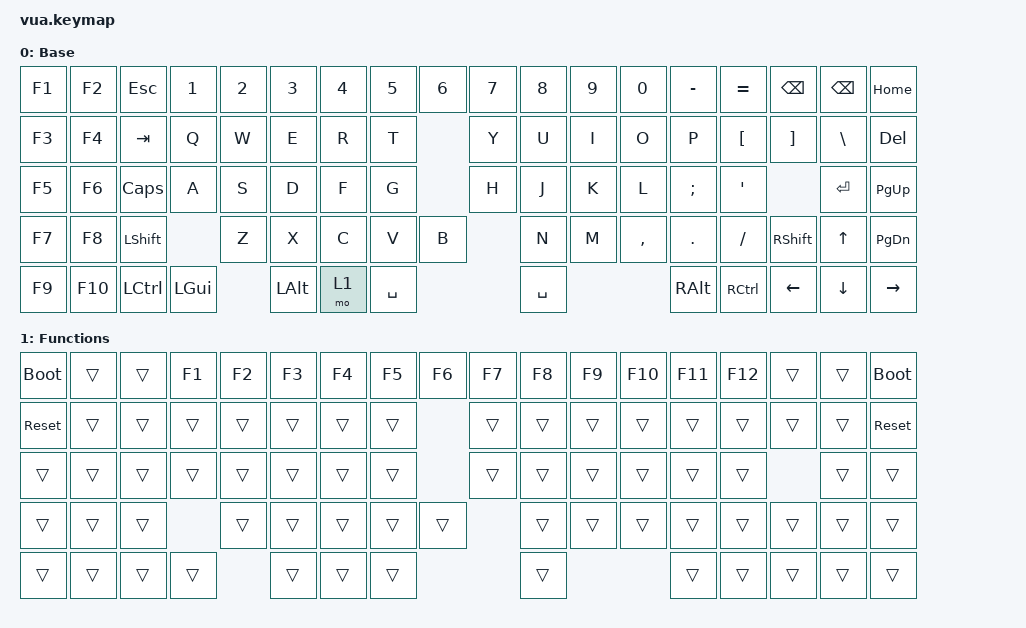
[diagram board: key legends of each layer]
/*
*
* Copyright (c) 2023 Deemen17
* SPDX-License-Identifier: MIT
*
*/

#include <behaviors.dtsi>
#include <dt-bindings/zmk/keys.h>
#include <dt-bindings/zmk/bt.h>
#include <dt-bindings/zmk/ext_power.h>
#include <dt-bindings/zmk/outputs.h>

/ {
    keymap {
        compatible = "zmk,keymap";

        default_layer {
            display-name = "Base";

            bindings = <
&kp F1  &kp F2  &kp ESC     &kp N1      &kp N2      &kp N3      &kp N4      &kp N5  &kp N6          &kp N7      &kp N8     &kp N9   &kp N0      &kp MINUS   &kp EQUAL   &kp BSPC    &kp BSPC    &kp HOME
&kp F3  &kp F4  &kp TAB     &kp Q       &kp W       &kp E       &kp R       &kp T                   &kp Y       &kp U      &kp I    &kp O       &kp P       &kp LBKT    &kp RBKT    &kp BSLH     &kp DEL
&kp F5  &kp F6  &kp CLCK    &kp A       &kp S       &kp D       &kp F       &kp G                   &kp H       &kp J      &kp K    &kp L       &kp SEMI    &kp SQT     &kp RET                 &kp PG_UP
&kp F7  &kp F8  &kp LSHFT               &kp Z       &kp X       &kp C       &kp V   &kp B                       &kp N      &kp M    &kp COMMA   &kp DOT     &kp SLASH   &kp RSHFT   &kp UP      &kp PG_DN
&kp F9  &kp F10 &kp LCTRL   &kp LGUI                &kp LALT    &mo 1       &kp SPACE                           &kp SPACE                       &kp RALT    &kp RCTRL   &kp LEFT    &kp DOWN    &kp RIGHT
            >;

        };

        function_layer {
            display-name = "Functions";

            bindings = <
&bootloader &trans  &trans  &kp F1  &kp F2  &kp F3  &kp F4  &kp F5  &kp F6      &kp F7  &kp F8  &kp F9  &kp F10 &kp F11 &kp F12 &trans  &trans  &bootloader
&sys_reset  &trans  &trans  &trans  &trans  &trans  &trans  &trans              &trans  &trans  &trans  &trans  &trans  &trans  &trans  &trans  &sys_reset
&trans      &trans  &trans  &trans  &trans  &trans  &trans  &trans              &trans  &trans  &trans  &trans  &trans  &trans  &trans          &trans
&trans      &trans  &trans          &trans  &trans  &trans  &trans  &trans              &trans  &trans  &trans  &trans  &trans  &trans  &trans  &trans
&trans      &trans  &trans  &trans          &trans  &trans  &trans                      &trans                  &trans  &trans  &trans  &trans  &trans
            >;

        };
    };
};
